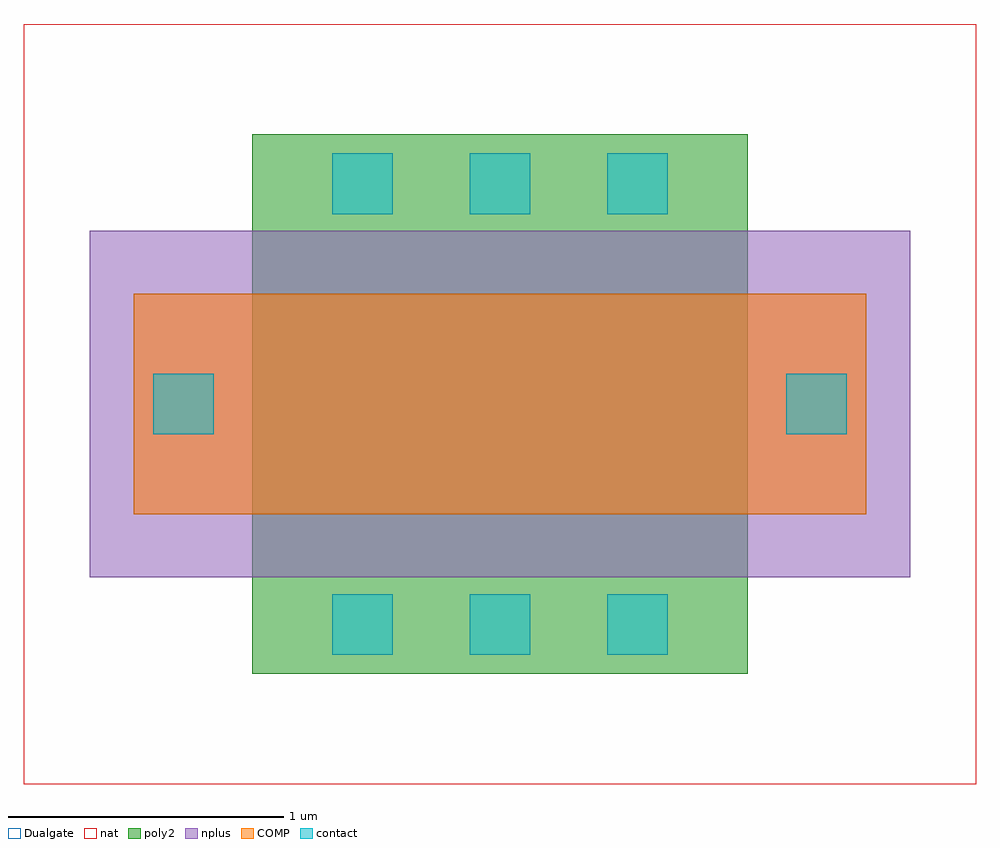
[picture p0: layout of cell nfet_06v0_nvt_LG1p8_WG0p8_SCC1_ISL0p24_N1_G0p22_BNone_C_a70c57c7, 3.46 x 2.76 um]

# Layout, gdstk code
import gdstk
lib = gdstk.Library(unit=1e-6, precision=1e-09)
def R(c, l, rs):  # rectangles x0, y0, x1, y1
    for r in rs: c.add(gdstk.rectangle(r[:2], r[2:], *l))
nat = (5, 0)
COMP = (22, 0)
poly2 = (30, 0)
nplus = (32, 0)
contact = (33, 0)
Dualgate = (55, 0)

labels_gen_lsnone_pm0p18 = lib.new_cell('labels_gen_LSNone_Pm0p18_0p4_Lmetal1_label_LFalse_L_LVL2_I0')

labels_gen_lsnone_p2p12_ = lib.new_cell('labels_gen_LSNone_P2p12_0p4_Lmetal1_label_LFalse_L_LVL2_I1')

labels_gen_lsnone_p0p97_ = lib.new_cell('labels_gen_LSNone_P0p97_m0p39999999999999997_Lmetal1_la_69052f02')

rectangle_gdsfactorypcom = lib.new_cell('rectangle_gdsfactorypcomponentspshapesprectangle_S1p94__cd60ecb2')
R(rectangle_gdsfactorypcom, COMP, [(0,0,1.94,0.8)])

c_rectangle_gdsfactorypcom = lib.new_cell('rectangle_gdsfactorypcomponentspshapesprectangle_S0p36__ed463674')
R(c_rectangle_gdsfactorypcom, COMP, [(0,0,0.36,0.8)])

c_rectangle_gdsfactorypcom_ = lib.new_cell('rectangle_gdsfactorypcomponentspshapesprectangle_S0p22__bfea7709')
R(c_rectangle_gdsfactorypcom_, contact, [(0,0,0.22,0.22)])

via_generator_xrm0p36_0_ = lib.new_cell('via_generator_XRm0p36_0_YR0_0p8_VS0p22_0p22_VLcontact_V_640fc690')
via_generator_xrm0p36_0_.add(gdstk.Reference(c_rectangle_gdsfactorypcom_, (-0.29,0.29)))

c_rectangle_gdsfactorypcom__ = lib.new_cell('rectangle_gdsfactorypcomponentspshapesprectangle_S0p339_aa995bf7')
R(c_rectangle_gdsfactorypcom__, COMP, [(0,0,0.34,0.34)])

via_stack_xrm0p36_0_yr0_ = lib.new_cell('via_stack_XRm0p36_0_YR0_0p8_ML1_CS0p22_0p22_CE0p07_ME0p_a821c08b')
via_stack_xrm0p36_0_yr0_.add(gdstk.Reference(via_generator_xrm0p36_0_, (0,0)))
via_stack_xrm0p36_0_yr0_.add(gdstk.Reference(c_rectangle_gdsfactorypcom__, (-0.35,0.23)))

c_rectangle_gdsfactorypcom___ = lib.new_cell('rectangle_gdsfactorypcomponentspshapesprectangle_S1p8_1_3f96e2ac')
R(c_rectangle_gdsfactorypcom___, poly2, [(0,0,1.8,1.24)])

c_rectangle_gdsfactorypcom____ = lib.new_cell('rectangle_gdsfactorypcomponentspshapesprectangle_S1p8_0_98ce00a0')
R(c_rectangle_gdsfactorypcom____, poly2, [(0,0,1.8,0.36)])

via_generator_xr0_1p8_yr = lib.new_cell('via_generator_XR0_1p8_YR0_0p36_VS0p22_0p22_VLcontact_VE_1e65c7d5')
r = gdstk.Reference(c_rectangle_gdsfactorypcom_, (0.29,0.07)); r.repetition = gdstk.Repetition(3, 1, v1=(0.5,0), v2=(0,0)); via_generator_xr0_1p8_yr.add(r)

c_rectangle_gdsfactorypcom_____ = lib.new_cell('rectangle_gdsfactorypcomponentspshapesprectangle_S1p339_ffa84501')
R(c_rectangle_gdsfactorypcom_____, poly2, [(0,0,1.34,0.34)])

via_stack_xr0_1p8_yr0_0p = lib.new_cell('via_stack_XR0_1p8_YR0_0p36_ML1_CS0p22_0p22_CE0p07_ME0p0_43195922')
via_stack_xr0_1p8_yr0_0p.add(gdstk.Reference(via_generator_xr0_1p8_yr, (0,0)))
via_stack_xr0_1p8_yr0_0p.add(gdstk.Reference(c_rectangle_gdsfactorypcom_____, (0.23,0.01)))

poly_con = lib.new_cell('poly$con')
poly_con.add(gdstk.Reference(c_rectangle_gdsfactorypcom____, (0,0)))
poly_con.add(gdstk.Reference(via_stack_xr0_1p8_yr0_0p, (0,0)))

c_rectangle_gdsfactorypcom______ = lib.new_cell('rectangle_gdsfactorypcomponentspshapesprectangle_S2p98__d51d38b0')
R(c_rectangle_gdsfactorypcom______, nplus, [(0,0,2.98,1.26)])

dev_temp = lib.new_cell('dev_temp')
dev_temp.add(gdstk.Reference(rectangle_gdsfactorypcom, (0,0)))
r = gdstk.Reference(c_rectangle_gdsfactorypcom, (-0.36,0)); r.repetition = gdstk.Repetition(2, 1, v1=(2.3,0), v2=(0,0)); dev_temp.add(r)
r = gdstk.Reference(via_stack_xrm0p36_0_yr0_, (0,0)); r.repetition = gdstk.Repetition(2, 1, v1=(2.3,0), v2=(0,0)); dev_temp.add(r)
dev_temp.add(gdstk.Reference(c_rectangle_gdsfactorypcom___, (0.07,-0.22)))
r = gdstk.Reference(poly_con, (0.07,-0.58)); r.repetition = gdstk.Repetition(1, 2, v1=(0,0), v2=(0,1.6)); dev_temp.add(r)
dev_temp.add(gdstk.Reference(c_rectangle_gdsfactorypcom______, (-0.52,-0.23)))

c_rectangle_gdsfactorypcom_______ = lib.new_cell('rectangle_gdsfactorypcomponentspshapesprectangle_S3p46__2505232d')
R(c_rectangle_gdsfactorypcom_______, Dualgate, [(0,0,3.46,2.76)])

c_rectangle_gdsfactorypcom________ = lib.new_cell('rectangle_gdsfactorypcomponentspshapesprectangle_S3p46__9ce89071')
R(c_rectangle_gdsfactorypcom________, nat, [(0,0,3.46,2.76)])

nfet_06v0_nvt_lg1p8_wg0p = lib.new_cell('nfet_06v0_nvt_LG1p8_WG0p8_SCC1_ISL0p24_N1_G0p22_BNone_C_a70c57c7')
nfet_06v0_nvt_lg1p8_wg0p.add(gdstk.Reference(labels_gen_lsnone_pm0p18, (0,0)))
nfet_06v0_nvt_lg1p8_wg0p.add(gdstk.Reference(labels_gen_lsnone_p2p12_, (0,0)))
nfet_06v0_nvt_lg1p8_wg0p.add(gdstk.Reference(labels_gen_lsnone_p0p97_, (0,0)))
nfet_06v0_nvt_lg1p8_wg0p.add(gdstk.Reference(dev_temp, (0,0)))
nfet_06v0_nvt_lg1p8_wg0p.add(gdstk.Reference(c_rectangle_gdsfactorypcom_______, (-0.76,-0.98)))
nfet_06v0_nvt_lg1p8_wg0p.add(gdstk.Reference(c_rectangle_gdsfactorypcom________, (-0.76,-0.98)))

lib.write_gds('nfet_06v0_nvt_LG1p8_WG0p8_SCC1_ISL0p24_N1_G0p22_BNone_C_a70c57c7.gds')
